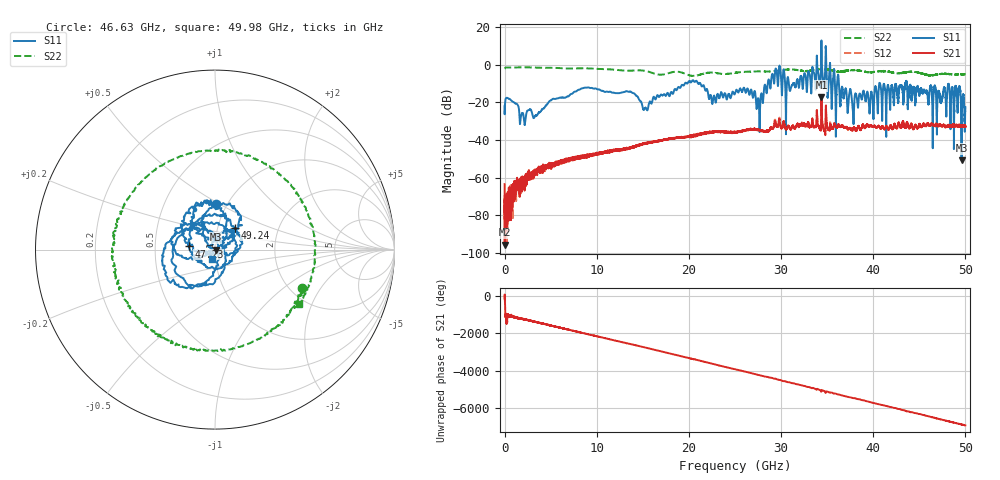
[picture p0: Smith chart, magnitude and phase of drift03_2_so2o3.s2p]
!Created with skrf (http://scikit-rf.org).
# Hz S RI R 50.0
!freq ReS11 ImS11 ReS21 ImS21 ReS12 ImS12 ReS22 ImS22
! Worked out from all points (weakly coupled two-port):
!   10001 points, 300 kHz to 50 GHz, reference 50 ohm
!   highest |S21| = -17.29 dB at 34.38 GHz (marker M1); lowest = -95.6 dB at 10.3 MHz (marker M2)
!   lowest |S11| = -50.8 dB at 49.59 GHz (marker M3), VSWR 1.01, Z = 50.3 + j0.035 ohm
!   |S11| at or under -10 dB: start of sweep to 19.56 GHz; 21.26 GHz to 28.55 GHz (7.293 GHz wide, 29.3 % of centre); 43.67 GHz to end of sweep (the widest 3 of 28)
!   |S22| runs from -6.0 to -1.3 dB; largest |S21 - S12| = 0.024
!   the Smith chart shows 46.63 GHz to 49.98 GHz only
!   S11 on the Smith chart (normalised r, x): 46.63 GHz: 0.89, +0.49; 47.23 GHz: 0.74, +0.03; 49.24 GHz: 1.21, +0.31; 49.98 GHz: 0.96, -0.10
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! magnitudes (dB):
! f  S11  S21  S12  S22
! 300 kHz  -21.8  -63.5  -69.5  -2.1
! 10.3 MHz  -25.7  -95.6  -77.0  -2.1
! 3.305 GHz  -27.2  -57.3  -57.4  -1.5
! 8.335 GHz  -12.6  -48.9  -48.9  -1.9
! 15.28 GHz  -22.9  -41.8  -42.0  -3.3
! 16.67 GHz  -16.5  -40.5  -40.4  -5.2
! 20.26 GHz  -9.2  -38.0  -38.3  -5.9
! 22.71 GHz  -16.5  -36.0  -35.5  -4.2
! 25 GHz  -15.3  -35.9  -35.8  -4.3
! 27.52 GHz  -17.8  -34.5  -34.5  -3.5
! 29.28 GHz  -8.7  -31.3  -30.6  -3.4
! 30.72 GHz  -6.6  -33.0  -32.7  -2.5
! 33.34 GHz  -7.2  -31.7  -31.6  -2.9
! 34.38 GHz  12.9  -17.3  -18.6  -2.3
! 37.85 GHz  -30.9  -33.9  -34.4  -2.9
! 41.67 GHz  -12.3  -34.1  -34.1  -3.7
! 46.63 GHz  -11.9  -32.1  -32.3  -5.5
! 47.23 GHz  -16.6  -31.6  -31.7  -4.9
! 49.24 GHz  -15.6  -32.4  -32.4  -5.1
! 49.59 GHz  -50.8  -32.4  -32.8  -5.1
! 49.98 GHz  -25.0  -32.9  -32.5  -5.1
! 50 GHz  -22.7  -33.1  -33.2  -5.0
